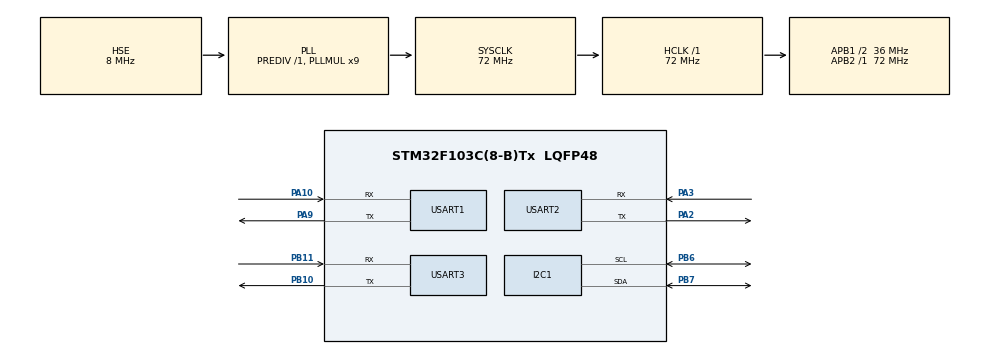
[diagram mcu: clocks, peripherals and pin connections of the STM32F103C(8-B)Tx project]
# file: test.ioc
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Dma.Request0=USART1_RX
Dma.Request1=USART1_TX
Dma.USART1_RX.0.Direction=DMA_PERIPH_TO_MEMORY
Dma.USART1_RX.0.Instance=DMA1_Channel5
Dma.USART1_RX.0.MemDataAlignment=DMA_MDATAALIGN_BYTE
Dma.USART1_RX.0.MemInc=DMA_MINC_ENABLE
Dma.USART1_RX.0.Mode=DMA_NORMAL
Dma.USART1_RX.0.PeriphDataAlignment=DMA_PDATAALIGN_BYTE
Dma.USART1_RX.0.PeriphInc=DMA_PINC_DISABLE
Dma.USART1_RX.0.Priority=DMA_PRIORITY_LOW
Dma.USART1_TX.1.Direction=DMA_MEMORY_TO_PERIPH
Dma.USART1_TX.1.Instance=DMA1_Channel4
Dma.USART1_TX.1.MemDataAlignment=DMA_MDATAALIGN_BYTE
Dma.USART1_TX.1.MemInc=DMA_MINC_ENABLE
Dma.USART1_TX.1.Mode=DMA_NORMAL
Dma.USART1_TX.1.PeriphDataAlignment=DMA_PDATAALIGN_BYTE
Dma.USART1_TX.1.PeriphInc=DMA_PINC_DISABLE
Dma.USART1_TX.1.Priority=DMA_PRIORITY_LOW
I2C1.DualAddressMode=I2C_DUALADDRESS_ENABLE
I2C1.I2C_Mode=I2C_Fast
I2C1.OwnAddress=16
I2C1.OwnAddress2=17
Mcu.Family=STM32F1
Mcu.Name=STM32F103C(8-B)Tx
Mcu.Package=LQFP48
NVIC.DMA1_Channel4_IRQn=true\:0\:0\:false\:false\:true\:false\:true\:true
NVIC.DMA1_Channel5_IRQn=true\:0\:0\:false\:false\:true\:false\:true\:true
NVIC.I2C1_ER_IRQn=true\:0\:0\:false\:false\:true\:true\:true\:true
NVIC.I2C1_EV_IRQn=true\:0\:0\:false\:false\:true\:true\:true\:true
NVIC.PriorityGroup=NVIC_PRIORITYGROUP_4
NVIC.TIM1_UP_IRQn=true\:0\:0\:false\:false\:true\:true\:true\:true
NVIC.USART1_IRQn=true\:0\:0\:false\:false\:true\:false\:true\:true
NVIC.USART2_IRQn=true\:0\:0\:false\:false\:true\:false\:true\:true
NVIC.USART3_IRQn=true\:0\:0\:false\:false\:true\:true\:true\:true
PA10.Mode=Asynchronous
PA10.Signal=USART1_RX
PA13.Mode=Serial_Wire
PA13.Signal=SYS_JTMS-SWDIO
PA14.Mode=Serial_Wire
PA14.Signal=SYS_JTCK-SWCLK
PA2.Mode=Asynchronous
PA2.Signal=USART2_TX
PA3.Mode=Asynchronous
PA3.Signal=USART2_RX
PA9.Mode=Asynchronous
PA9.Signal=USART1_TX
PB10.Mode=Asynchronous
PB10.Signal=USART3_TX
PB11.Mode=Asynchronous
PB11.Signal=USART3_RX
PB6.Mode=I2C
PB6.Signal=I2C1_SCL
PB7.Mode=I2C
PB7.Signal=I2C1_SDA
PD0-OSC_IN.Mode=HSE-External-Oscillator
PD0-OSC_IN.Signal=RCC_OSC_IN
PD1-OSC_OUT.Mode=HSE-External-Oscillator
PD1-OSC_OUT.Signal=RCC_OSC_OUT
ProjectManager.HeapSize=0x200
ProjectManager.StackSize=0x400
ProjectManager.TargetToolchain=MDK-ARM V5.32
RCC.AHBFreq_Value=72000000
RCC.APB1CLKDivider=RCC_HCLK_DIV2
RCC.APB1Freq_Value=36000000
RCC.APB1TimFreq_Value=72000000
RCC.APB2Freq_Value=72000000
RCC.APB2TimFreq_Value=72000000
RCC.HCLKFreq_Value=72000000
RCC.PLLMUL=RCC_PLL_MUL9
RCC.PLLSourceVirtual=RCC_PLLSOURCE_HSE
RCC.SYSCLKFreq_VALUE=72000000
RCC.SYSCLKSource=RCC_SYSCLKSOURCE_PLLCLK
RCC.USBFreq_Value=72000000
TIM1.Period=1000 -1
TIM1.Prescaler=72-1
USART1.VirtualMode=VM_ASYNC
USART2.VirtualMode=VM_ASYNC
USART3.VirtualMode=VM_ASYNC
VP_TIM1_VS_ClockSourceINT.Mode=Internal
board=custom

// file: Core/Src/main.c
/* USER CODE BEGIN Header */
/**
  ******************************************************************************
  * @file           : main.c
  * @brief          : Main program body
  ******************************************************************************
  * @attention
  *
  * Copyright (c) 2025 STMicroelectronics.
  * All rights reserved.
  *
  * This software is licensed under terms that can be found in the LICENSE file
  * in the root directory of this software component.
  * If no LICENSE file comes with this software, it is provided AS-IS.
  *
  ******************************************************************************
  */
/* USER CODE END Header */
#include "main.h"
#include "dma.h"
#include "i2c.h"
#include "tim.h"
#include "usart.h"
#include "gpio.h"

/* USER CODE BEGIN Includes */
#include "bus_servo_control.h"  // 假设包含 bus_servo_read、bus_servo_control 等函数声明
#include "string.h"
#include "stdio.h"
/* USER CODE END Includes */

/* USER CODE BEGIN PTD */
typedef struct {
    uint16_t set_position;  // 目标位置
    uint16_t time;          // 到达时间（ms）
    uint16_t real_position; // 实际位置
} Servo;
/* USER CODE END PTD */

/* USER CODE BEGIN PD */
#define RX_BUFFER_SIZE 8          // 串口接收缓冲区大小
#define READ_INTERVAL 20          // 高频读取间隔（50ms）
#define IIC_SLAVE                 // 使能 I2C 从机功能
/* USER CODE END PD */

/* USER CODE BEGIN PV */
// 舵机位置数组（[0]对应UART2总线，[1]对应UART3总线；索引1-6为舵机ID）
Servo servo_positions[2][7] = {
    {{0,0,0}, {2000,0,0}, {2000,0,0}, {2000,0,0}, {2000,0,0}, {1486,0,0}, {3100,0,0}},  // UART2总线（索引0未使用）
    {{0,0,0}, {2000,0,0}, {2000,0,0}, {2000,0,0}, {2000,0,0}, {1486,0,0}, {3100,0,0}}   // UART3总线（索引0未使用）
};

uint8_t torque_enabled = 1;         // 扭矩使能标志
uint8_t action_group_running = 0;   // 动作组运行标志

// UART2 接收相关变量
uint8_t u2_rx_buffer[RX_BUFFER_SIZE];
uint8_t my_u2_rx_buffer[RX_BUFFER_SIZE];
uint8_t u2_rx_index = 0;

// UART3 接收相关变量
uint8_t u3_rx_buffer[RX_BUFFER_SIZE];
uint8_t my_u3_rx_buffer[RX_BUFFER_SIZE];
uint8_t u3_rx_index = 0;

// I2C 从机相关变量
static uint8_t current_i2c_address = 0;      // 当前匹配的I2C地址（0x10或0x11）
static uint8_t current_bus_servo_index = 0;  // 当前总线索引（0=UART2，1=UART3）
static uint8_t rx_ram[256];                  // I2C 接收缓冲区
static uint8_t tx_ram[256];                  // I2C 发送缓冲区
uint8_t rx_offset = 0;                       // 接收缓冲区偏移
uint8_t tx_offset = 0;                       // 发送缓冲区偏移
static uint8_t rx_count = 0;

// 舵机位置更新时间戳（防旧数据覆盖）
uint32_t servo2_last_update[7] = {0};  // UART2总线（索引1-6对应舵机ID）
uint32_t servo3_last_update[7] = {0};  // UART3总线（索引1-6对应舵机ID）

uint8_t huart2_torque_need_enabled = 0;
uint8_t huart2_torque_need_disable = 0;

uint8_t huart3_torque_need_enabled = 0;
uint8_t huart3_torque_need_disable = 0;

/* USER CODE END PV */

void SystemClock_Config(void);

/* USER CODE BEGIN 0 */

/************************** UART2 中断回调（处理舵机位置接收） **************************/
void USER_UART2_rx_callback(void)
{
    // 接收当前字节到缓冲区
    u2_rx_buffer[u2_rx_index] = huart2.Instance->DR;
    u2_rx_index++;

    // 检查是否接收到有效头部（0xFF, 0xF5）
    if (u2_rx_index >= 2 && u2_rx_buffer[0] == 0xFF && u2_rx_buffer[1] == 0xF5)
    {
        // 完整数据包（8字节）
        if (u2_rx_index >= 8)
        {
            // 复制到临时缓冲区
            memcpy(my_u2_rx_buffer, u2_rx_buffer, 8);
            uint8_t id = my_u2_rx_buffer[2];  // 舵机ID（1-6）
            uint16_t raw_position = (my_u2_rx_buffer[5] << 8) | my_u2_rx_buffer[6];  // 解析位置值
            uint32_t current_time = HAL_GetTick();  // 获取当前时间戳

            // 数据有效性校验（0-4096）
            if (raw_position <= 4096)
            {
                // 仅当新数据时间戳更新时才覆盖（防旧数据）
                if (current_time > servo2_last_update[id])
                {
                    servo_positions[0][id].real_position = raw_position;
                    servo2_last_update[id] = current_time;  // 更新时间戳
                }
            }
            else
            {
                // 无效数据：重置缓冲区并重新读取该舵机
                u2_rx_index = 0;
                memset(u2_rx_buffer, 0, RX_BUFFER_SIZE);
                memset(my_u2_rx_buffer, 0, RX_BUFFER_SIZE);
                bus_servo_read(id, huart2);  // 重新发送读取命令
                return;
            }

            u2_rx_index = 0;  // 重置索引接收下一组数据
        }
    }
    // 缓冲区溢出处理（超过8字节未匹配头部）
    else if (u2_rx_index >= RX_BUFFER_SIZE)
    {
        u2_rx_index = 0;
        memset(u2_rx_buffer, 0, RX_BUFFER_SIZE);
    }

    // 继续接收下一个字节（防越界）
    if (u2_rx_index < RX_BUFFER_SIZE)
    {
        HAL_UART_Receive_IT(&huart2, &u2_rx_buffer[u2_rx_index], 1);
    }
    else
    {
        u2_rx_index = 0;
        HAL_UART_Receive_IT(&huart2, u2_rx_buffer, 1);
    }
}

/************************** UART3 中断回调（逻辑同UART2） **************************/
void USER_UART3_rx_callback(void)
{
    u3_rx_buffer[u3_rx_index] = huart3.Instance->DR;
    u3_rx_index++;

    if (u3_rx_index >= 2 && u3_rx_buffer[0] == 0xFF && u3_rx_buffer[1] == 0xF5)
    {
        if (u3_rx_index >= 8)
        {
            memcpy(my_u3_rx_buffer, u3_rx_buffer, 8);
            uint8_t id = my_u3_rx_buffer[2];
            uint16_t raw_position = (my_u3_rx_buffer[5] << 8) | my_u3_rx_buffer[6];
            uint32_t current_time = HAL_GetTick();

            if (raw_position <= 4096)
            {
                if (current_time > servo3_last_update[id])
                {
                    servo_positions[1][id].real_position = raw_position;
                    servo3_last_update[id] = current_time;
                }
            }
            else
            {
                u3_rx_index = 0;
                memset(u3_rx_buffer, 0, RX_BUFFER_SIZE);
                memset(my_u3_rx_buffer, 0, RX_BUFFER_SIZE);
                bus_servo_read(id, huart3);  // 重新读取该舵机
                return;
            }

            u3_rx_index = 0;
        }
    }
    else if (u3_rx_index >= RX_BUFFER_SIZE)
    {
        u3_rx_index = 0;
        memset(u3_rx_buffer, 0, RX_BUFFER_SIZE);
    }

    if (u3_rx_index < RX_BUFFER_SIZE)
    {
        HAL_UART_Receive_IT(&huart3, &u3_rx_buffer[u3_rx_index], 1);
    }
    else
    {
        u3_rx_index = 0;
        HAL_UART_Receive_IT(&huart3, u3_rx_buffer, 1);
    }
}

/************************** I2C 从机命令处理函数 **************************/
#ifdef IIC_SLAVE
void Process_I2C_Command(void)
{
    uint8_t current_register = rx_ram[0];  // 当前操作寄存器地址
    UART_HandleTypeDef *current_uart;      // 当前操作的UART句柄指针

    // 根据I2C地址选择对应的UART总线
    switch (current_i2c_address)
    {
        case 0x10:  // 地址0x10对应UART2总线
            current_uart = &huart2;
            current_bus_servo_index = 0;
            break;
        case 0x11:  // 地址0x11对应UART3总线
            current_uart = &huart3;
            current_bus_servo_index = 1;
            break;
        default:
            return;  // 无效地址，直接返回
    }

    // 处理不同寄存器命令
    switch (current_register)
    {
        // 控制单个舵机（0x11-0x16对应舵机ID1-6）
        case 0x11: case 0x12: case 0x13: case 0x14: case 0x15: case 0x16:
        {
            uint8_t servo_id = current_register - 0x11 + 1;  // 舵机ID（1-6）
            uint16_t set_pos = (rx_ram[1] << 8) | rx_ram[2];  // 目标位置
            uint16_t time = (rx_ram[3] << 8) | rx_ram[4];     // 到达时间
            servo_positions[current_bus_servo_index][servo_id].set_position = set_pos;
            servo_positions[current_bus_servo_index][servo_id].time = time;
            //bus_servo_control(servo_id, set_pos, time, *current_uart);  // 发送控制命令
            break;
        }

        // 控制所有舵机（0x17）
        case 0x17:
        {
            uint16_t set_pos = (rx_ram[1] << 8) | rx_ram[2];
            uint16_t time = (rx_ram[3] << 8) | rx_ram[4];
            for (uint8_t i = 1; i <= 6; i++)
            {
                servo_positions[current_bus_servo_index][i].set_position = set_pos;
                servo_positions[current_bus_servo_index][i].time = time;
            }
            //bus_servo_control(0xFE, set_pos, time, *current_uart);  // 广播控制所有舵机
            break;
        }

        // 控制指定舵机（0x19）
        case 0x19:
        {
            uint8_t servo_id = rx_ram[1];
            uint16_t set_pos = (rx_ram[2] << 8) | rx_ram[3];
            uint16_t time = (rx_ram[4] << 8) | rx_ram[5];
            servo_positions[current_bus_servo_index][servo_id].set_position = set_pos;
            servo_positions[current_bus_servo_index][servo_id].time = time;
            //bus_servo_control(servo_id, set_pos, time, *current_uart);
            break;
        }

        // 扭矩开关（0x1A）
        case 0x1A:
        {
            uint8_t enable = rx_ram[1];
            torque_enabled = enable;
			if (current_uart->Instance == USART2)
			{
				if (enable == 1)
				{
					huart2_torque_need_enabled = 1;
				}
				else if (enable == 0)
				{
					huart2_torque_need_disable = 1;
				}
			}

			if (current_uart->Instance == USART3)
			{
				if (enable == 1)
				{
					huart3_torque_need_enabled = 1;
				}
				else if (enable == 0)
				{
					huart3_torque_need_disable = 1;
				}
			}

            //bus_servo_Unloading(0xFE, enable, *current_uart);  // 广播控制所有舵机扭矩
            break;
        }

        // 读取单个舵机位置（0x31-0x36对应舵机ID1-6）
        case 0x31: case 0x32: case 0x33: case 0x34: case 0x35: case 0x36:
        {
            uint8_t servo_id = current_register - 0x31 + 1;
            tx_ram[1] = (servo_positions[current_bus_servo_index][servo_id].real_position >> 8) & 0xFF;  // 高8位
            tx_ram[2] = servo_positions[current_bus_servo_index][servo_id].real_position & 0xFF;         // 低8位
            tx_offset = 0;  // 重置发送偏移
            break;
        }

        // 读取指定舵机位置（0x37）
        case 0x37:
        {
            uint8_t servo_id = rx_ram[1];
            tx_ram[1] = (servo_positions[current_bus_servo_index][servo_id].real_position >> 8) & 0xFF;
            tx_ram[2] = servo_positions[current_bus_servo_index][servo_id].real_position & 0xFF;
            tx_offset = 0;
            break;
        }

        // 设置6路舵机时间（0x1E）
        case 0x1E:
        {
            uint16_t time = (rx_ram[1] << 8) | rx_ram[2];
            for (uint8_t i = 1; i <= 6; i++)
            {
                servo_positions[current_bus_servo_index][i].time = time;
            }
            break;
        }

        // 控制6路舵机（0x1D）
        case 0x1D:
        {
            for (uint8_t i = 1; i <= 6; i++)
            {
                uint16_t set_pos = (rx_ram[(i-1)*2 + 1] << 8) | rx_ram[(i-1)*2 + 2];
                servo_positions[current_bus_servo_index][i].set_position = set_pos;
                //bus_servo_control(i, set_pos, servo_positions[current_bus_servo_index][i].time, *current_uart);
            }
            break;
        }

        // 读取6路舵机位置（0x2D）
        case 0x2D:
        {
            for (uint8_t i = 1; i <= 6; i++)
            {
                tx_ram[(i-1)*2 + 1] = (servo_positions[current_bus_servo_index][i].real_position >> 8) & 0xFF;
                tx_ram[(i-1)*2 + 2] = servo_positions[current_bus_servo_index][i].real_position & 0xFF;
            }
            tx_offset = 0;
            break;
        }

        default:
            break;  // 未处理的寄存器，忽略
    }
}

/************************** I2C 从机监听完成回调 **************************/
void HAL_I2C_ListenCpltCallback(I2C_HandleTypeDef *hi2c)
{
    if (rx_count > 0)
    {
        Process_I2C_Command();
    }
    rx_count = 0;
    rx_offset = 0;
    tx_offset = 0;
    (void)HAL_I2C_EnableListen_IT(hi2c);
}

/************************** I2C 地址匹配回调 **************************/
void HAL_I2C_AddrCallback(I2C_HandleTypeDef *hi2c, uint8_t TransferDirection, uint16_t AddrMatchCode)
{
    uint8_t received_addr = AddrMatchCode >> 1;  // 获取7位I2C地址（去掉R/W位）

    if (received_addr == ARM_I2C_ADDR_UART2)
    {
        current_i2c_address = ARM_I2C_ADDR_UART2;
    }
    else if (received_addr == ARM_I2C_ADDR_UART3)
    {
        current_i2c_address = ARM_I2C_ADDR_UART3;
    }
    else
    {
        return;  // 无效地址，直接返回
    }

    // 根据传输方向（主机发送/接收）启动对应操作
    if (TransferDirection == I2C_DIRECTION_TRANSMIT)
    {
        rx_offset = 0;
        rx_count = 0;
        HAL_I2C_Slave_Seq_Receive_IT(hi2c, &rx_ram[rx_offset], 1, I2C_NEXT_FRAME);
    }
    else
    {
        // 主机接收，从机发送：开始发送tx_ram[0]的数据
        HAL_I2C_Slave_Seq_Transmit_IT(hi2c, &tx_ram[tx_offset], 1, I2C_NEXT_FRAME);
    }
}

/************************** I2C 从机接收完成回调 **************************/
void HAL_I2C_SlaveRxCpltCallback(I2C_HandleTypeDef *hi2c)
{
    if (rx_offset < sizeof(rx_ram) - 1)
    {
        rx_offset++;
        rx_count++;
    }
    // 继续接收下一个字节
    HAL_I2C_Slave_Seq_Receive_IT(hi2c, &rx_ram[rx_offset], 1, I2C_NEXT_FRAME);
}

/************************** I2C 从机发送完成回调 **************************/
void HAL_I2C_SlaveTxCpltCallback(I2C_HandleTypeDef *hi2c)
{
    if (tx_offset < sizeof(tx_ram) - 1)
    {
        tx_offset++;  // 发送偏移递增
    }
    // 继续发送下一个字节
    HAL_I2C_Slave_Seq_Transmit_IT(hi2c, &tx_ram[tx_offset], 1, I2C_NEXT_FRAME);
}

void HAL_I2C_ErrorCallback(I2C_HandleTypeDef *hi2c)
{
    rx_count = 0;
    rx_offset = 0;
    tx_offset = 0;

    /*
     * For an address probe, the master normally sends only the address and
     * then stops. HAL reports that as ACK failure and calls
     * HAL_I2C_ListenCpltCallback() after this callback. Let that callback
     * restart listen mode, otherwise the listen state is changed twice.
     */
    if ((hi2c->ErrorCode & HAL_I2C_ERROR_AF) == HAL_I2C_ERROR_AF)
    {
        return;
    }

    /* Recover from bus, overrun, or arbitration errors immediately. */
    (void)HAL_I2C_DisableListen_IT(hi2c);
    (void)HAL_I2C_EnableListen_IT(hi2c);
}
#endif  // IIC_SLAVE

/* USER CODE END 0 */

int main(void)
{

  /* MCU Configuration--------------------------------------------------------*/
  HAL_Init();
  SystemClock_Config();
  MX_GPIO_Init();
  MX_DMA_Init();
  MX_USART2_UART_Init();
  MX_USART1_UART_Init();
  MX_I2C1_Init();
  (void)HAL_I2C_EnableListen_IT(&hi2c1);
  MX_USART3_UART_Init();
  MX_TIM1_Init();
  BusServo_Init();  // 初始化舵机驱动（假设已实现）

  /* USER CODE BEGIN 2 */
  // 开启串口中断接收（UART2和UART3）
  HAL_UART_Receive_IT(&huart2, u2_rx_buffer, 1);
  HAL_UART_Receive_IT(&huart3, u3_rx_buffer, 1);

  // 初始加载扭矩（所有舵机）
  bus_servo_Unloading(0xFE, 0, huart2);
  bus_servo_Unloading(0xFE, 0, huart3);

  // 初始读取所有舵机位置（UART2和UART3）
  for (uint8_t i = 1; i <= 6; i++)
  {
      bus_servo_read(i, huart2);
      bus_servo_read(i, huart3);
      HAL_Delay(5);  // 防止命令冲突
  }

   // 初始加载扭矩（所有舵机）
  bus_servo_Unloading(0xFE, 0, huart2);
  bus_servo_Unloading(0xFE, 0, huart3);

	uint32_t last_read_time = 0;       // 上次读取时间戳
	uint8_t current_servo_id = 1;     // 当前读取的舵机ID（1-6循环）
  /* USER CODE END 2 */

  /* Infinite loop */
  while (1)
  {
	  if (huart2_torque_need_enabled == 1)
	  {
		bus_servo_Unloading(0xFE, 1, huart2);  // 广播控制所有舵机扭矩
		  huart2_torque_need_enabled = 0;
	  }
	  else if (huart2_torque_need_disable == 1)
	  {
		bus_servo_Unloading(0xFE, 0, huart2);  // 广播控制所有舵机扭矩
		  huart2_torque_need_disable = 0;
	  }

	  if (huart3_torque_need_enabled == 1)
	  {
		bus_servo_Unloading(0xFE, 1, huart3);  // 广播控制所有舵机扭矩
		  huart3_torque_need_enabled = 0;
	  }
	  else if (huart3_torque_need_disable == 1)
	  {
		bus_servo_Unloading(0xFE, 0, huart3);  // 广播控制所有舵机扭矩
		  huart3_torque_need_disable = 0;
	  }

	  for (uint8_t i= 0;i< 2;i++)
	  {
		for(uint8_t j = 1;j<7;j++)
		  {
			  if (i ==0)
			  {
					bus_servo_control(j, servo_positions[i][j].set_position, servo_positions[i][j].time, huart2);
					HAL_Delay(5);
			  }
			  if (i == 1)
			  {
					bus_servo_control(j, servo_positions[i][j].set_position, servo_positions[i][j].time, huart3);
					HAL_Delay(5);
			  }
			  //HAL_Delay(5);

		  }
	  }
	// 初始读取所有舵机位置（UART2和UART3）
  for (uint8_t i = 1; i <= 6; i++)
  {
      bus_servo_read(i, huart2);
      HAL_Delay(5);  // 防止命令冲突
  }
  for(uint8_t i = 1; i<= 6; i++)
  {
	bus_servo_read(i, huart3);
    HAL_Delay(5);  // 防止命令冲突
  }
    /* USER CODE BEGIN 3 */
/* USER CODE BEGIN 3 */

/* USER CODE END 3 */
    /* USER CODE END 3 */
  }
}

void SystemClock_Config(void)
{
  RCC_OscInitTypeDef RCC_OscInitStruct = {0};
  RCC_ClkInitTypeDef RCC_ClkInitStruct = {0};

  /** Initializes the RCC Oscillators according to the specified parameters
  * in the RCC_OscInitTypeDef structure.
  */
  RCC_OscInitStruct.OscillatorType = RCC_OSCILLATORTYPE_HSE;
  RCC_OscInitStruct.HSEState = RCC_HSE_ON;
  RCC_OscInitStruct.HSEPredivValue = RCC_HSE_PREDIV_DIV1;
  RCC_OscInitStruct.HSIState = RCC_HSI_ON;
  RCC_OscInitStruct.PLL.PLLState = RCC_PLL_ON;
  RCC_OscInitStruct.PLL.PLLSource = RCC_PLLSOURCE_HSE;
  RCC_OscInitStruct.PLL.PLLMUL = RCC_PLL_MUL9;
  if (HAL_RCC_OscConfig(&RCC_OscInitStruct) != HAL_OK)
  {
    Error_Handler();
  }

  /** Initializes the CPU, AHB and APB buses clocks
  */
  RCC_ClkInitStruct.ClockType = RCC_CLOCKTYPE_HCLK|RCC_CLOCKTYPE_SYSCLK
                              |RCC_CLOCKTYPE_PCLK1|RCC_CLOCKTYPE_PCLK2;
  RCC_ClkInitStruct.SYSCLKSource = RCC_SYSCLKSOURCE_PLLCLK;
  RCC_ClkInitStruct.AHBCLKDivider = RCC_SYSCLK_DIV1;
  RCC_ClkInitStruct.APB1CLKDivider = RCC_HCLK_DIV2;
  RCC_ClkInitStruct.APB2CLKDivider = RCC_HCLK_DIV1;

  if (HAL_RCC_ClockConfig(&RCC_ClkInitStruct, FLASH_LATENCY_2) != HAL_OK)
  {
    Error_Handler();
  }
}

void Error_Handler(void)
{
  /* USER CODE BEGIN Error_Handler_Debug */
  __disable_irq();
  while (1)
  {
    // 错误处理（可添加LED闪烁、串口打印等）
  }
  /* USER CODE END Error_Handler_Debug */
}

#ifdef  USE_FULL_ASSERT
/**
  * @brief  Reports the name of the source file and the source line number
  *         where the assert_param error has occurred.
  * @param  file: pointer to the source file name
  * @param  line: assert_param error line source number
  * @retval None
  */
void assert_failed(uint8_t *file, uint32_t line)
{
  /* USER CODE BEGIN 6 */
  // 断言失败处理（可添加串口打印）
  /* USER CODE END 6 */
}
#endif /* USE_FULL_ASSERT */
